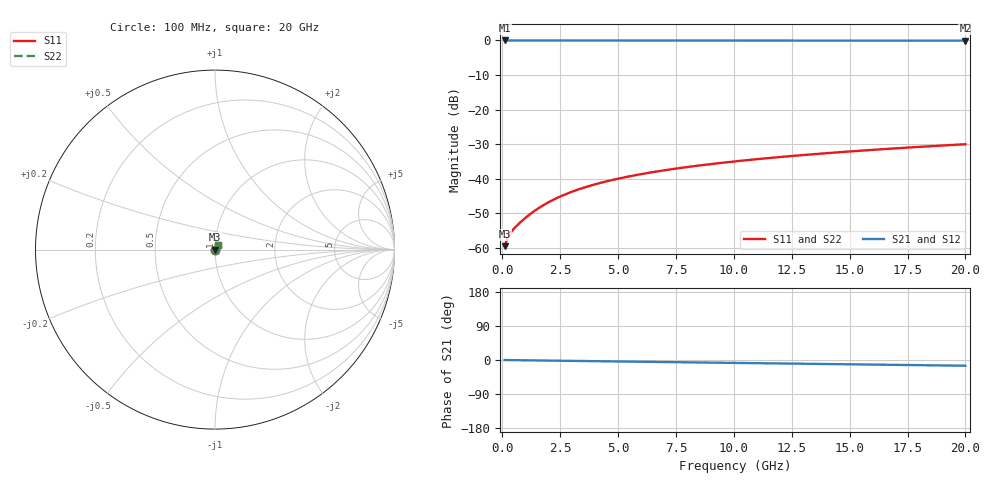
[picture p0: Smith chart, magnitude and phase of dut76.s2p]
! Touchstone file exported from HFSS 2026.1.0
!  File:  C:/ffzhzh/LocalFiles/Ansys_Project_Files/temp_train_BSMRDL_76_1782882960_8056.aedt
!  Generated:  01:17:09 PM Jul  1, 2026
!  Design:  BSMRDL
!  Project:  temp_train_BSMRDL_76_1782882960_8056
! Variables:
!  h_bsmrdl = 4.35um
!  h_ox = 20um
!  h_rdl = 5um
!  h_sub = 80um
!  h_tmrdl = 5um
!  h_tsv = 80um
!  h_via = 3um
!  l_bsmrdl = 252.56um
!  l_sub = 652.56um
!  l_tmrdl = 200um
!  m_sub = 200um
!  pitch = 34.53um
!  r_tsv = 6um
!  s_tmrdl = 10um
!  w_bsmrdl = 27.79um
!  w_sub = 500um
!  w_tmrdl = 12um
!  x_tsv_center1 = 206um
!  x_tsv_center2 = 486.35um
!  x_tsv_center3 = 698.35um
!  x_tsv_center4 = 978.7um
!  x_tsv_center5 = 1190.7um
!  x_tsv_center6 = 1471.05um
# GHz S MA R 50.000000
! Terminal data exported
! Port[1] = BSM_RDL1_1_T1
! Port[2] = BSM_RDL1_1_T2
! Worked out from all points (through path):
!   200 points, 100 MHz to 20 GHz, reference 50 ohm
!   highest |S21| = -0.01 dB at 100 MHz (marker M1); lowest = -0.1 dB at 20 GHz (marker M2)
!   group delay of S21, straight-line fit = 2.09 ps
!   lowest |S11| = -59.5 dB at 100 MHz (marker M3), VSWR 1.00, Z = 50.1 + j0.04 ohm
!   |S11| at or under -10 dB: start of sweep to end of sweep
!   |S22| runs from -59.5 to -30.0 dB; largest |S21 - S12| = 3.7e-15
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0.1  0.001061 22.1  0.999 -0.1  0.999 -0.1  0.001061 22.1
! Gamma 0 0 0 0
! Port Impedance 50 0 50 0
0.2  0.001321 31.8  0.9989 -0.2  0.9989 -0.2  0.001321 31.8
0.3  0.001544 36.4  0.9988 -0.3  0.9988 -0.3  0.001544 36.4
0.4  0.001729 39.8  0.9987 -0.3  0.9987 -0.3  0.001729 39.8
0.6  0.002055 45.7  0.9986 -0.5  0.9986 -0.5  0.002055 45.7
0.8  0.002381 50.8  0.9985 -0.6  0.9985 -0.6  0.002381 50.8
1  0.002724 54.9  0.9985 -0.8  0.9985 -0.8  0.002724 54.9
1.3  0.003264 59.5  0.9984 -1.0  0.9984 -1.0  0.003264 59.5
1.8  0.004204 64.1  0.9982 -1.4  0.9982 -1.4  0.004204 64.1
2.3  0.00516 66.6  0.9981 -1.8  0.9981 -1.8  0.00516 66.6
2.9  0.006296 68.1  0.9979 -2.3  0.9979 -2.3  0.006296 68.1
3.5  0.007405 68.8  0.9976 -2.7  0.9976 -2.7  0.007405 68.8
4.2  0.008657 69.1  0.9973 -3.3  0.9973 -3.3  0.008657 69.1
5  0.01003 69.1  0.997 -3.9  0.997 -3.9  0.01003 69.1
5.8  0.01136 68.9  0.9967 -4.5  0.9967 -4.5  0.01136 68.9
6.8  0.01295 68.6  0.9963 -5.2  0.9963 -5.2  0.01295 68.6
8.3  0.01525 68.1  0.9958 -6.4  0.9958 -6.4  0.01525 68.1
10.1  0.01791 67.4  0.9952 -7.7  0.9952 -7.7  0.01791 67.4
11.7  0.02021 66.8  0.9948 -8.9  0.9948 -8.9  0.02021 66.8
13.4  0.02261 66.0  0.9944 -10.2  0.9944 -10.2  0.02261 66.1
16.7  0.02716 64.5  0.9936 -12.7  0.9936 -12.7  0.02716 64.5
20  0.03158 62.7  0.9928 -15.1  0.9928 -15.1  0.03158 62.8
